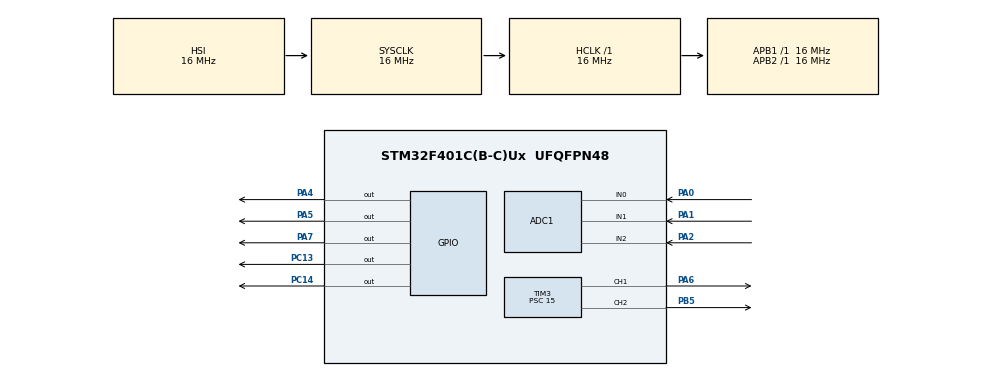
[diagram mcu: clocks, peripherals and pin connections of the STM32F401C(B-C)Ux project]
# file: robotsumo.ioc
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ADC1.Channel-2\#ChannelRegularConversion=ADC_CHANNEL_0
ADC1.ClockPrescaler=ADC_CLOCK_SYNC_PCLK_DIV4
ADC1.NbrOfConversionFlag=1
ADC1.Rank-2\#ChannelRegularConversion=1
ADC1.SamplingTime-2\#ChannelRegularConversion=ADC_SAMPLETIME_480CYCLES
ADC1.master=1
Mcu.Family=STM32F4
Mcu.Name=STM32F401C(B-C)Ux
Mcu.Package=UFQFPN48
NVIC.PriorityGroup=NVIC_PRIORITYGROUP_4
PA0-WKUP.Signal=ADCx_IN0
PA1.Signal=ADCx_IN1
PA2.Signal=ADCx_IN2
PA4.GPIO_PuPd=GPIO_PULLDOWN
PA4.Signal=GPIO_Output
PA5.GPIO_PuPd=GPIO_PULLDOWN
PA5.Signal=GPIO_Output
PA6.Signal=S_TIM3_CH1
PA7.Signal=GPIO_Output
PB5.Signal=S_TIM3_CH2
PC13-ANTI_TAMP.Signal=GPIO_Output
PC14-OSC32_IN.Signal=GPIO_Output
ProjectManager.HeapSize=0x200
ProjectManager.StackSize=0x400
ProjectManager.TargetToolchain=STM32CubeIDE
RCC.AHBFreq_Value=16000000
RCC.APB1Freq_Value=16000000
RCC.APB2Freq_Value=16000000
RCC.CortexFreq_Value=16000000
RCC.HSE_VALUE=25000000
RCC.HSI_VALUE=16000000
RCC.LSE_VALUE=32768
RCC.SYSCLKFreq_VALUE=16000000
RCC.VCOOutputFreq_Value=192000000
SH.ADCx_IN0.0=ADC1_IN0,IN0
SH.ADCx_IN1.0=ADC1_IN1,IN1
SH.ADCx_IN2.0=ADC1_IN2,IN2
SH.S_TIM3_CH1.0=TIM3_CH1,PWM Generation1 CH1
SH.S_TIM3_CH2.0=TIM3_CH2,PWM Generation2 CH2
TIM3.Channel-PWM\ Generation1\ CH1=TIM_CHANNEL_1
TIM3.Channel-PWM\ Generation2\ CH2=TIM_CHANNEL_2
TIM3.Period=999
TIM3.Prescaler=15
VP_TIM3_VS_ClockSourceINT.Mode=Internal
board=custom

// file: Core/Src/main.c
/* USER CODE BEGIN Header */
/**
  ******************************************************************************
  * @file           : main.c
  * @brief          : Main program body
  ******************************************************************************
  * @attention
  *
  * Copyright (c) 2025 STMicroelectronics.
  * All rights reserved.
  *
  * This software is licensed under terms that can be found in the LICENSE file
  * in the root directory of this software component.
  * If no LICENSE file comes with this software, it is provided AS-IS.
  *
  ******************************************************************************
  */
/* USER CODE END Header */
#include "main.h"

/* USER CODE BEGIN Includes */
#include <math.h>
#include <stdio.h>
#include <stdbool.h>
#include <stdlib.h>
/* USER CODE END Includes */

/* USER CODE BEGIN PTD */
typedef enum {
    LINE_NONE = 0,
    LINE_LEFT = 1,
    LINE_RIGHT = 2,
    LINE_BOTH = 3
} LineState;
/* USER CODE END PTD */

ADC_HandleTypeDef hadc1;

TIM_HandleTypeDef htim3;

/* USER CODE BEGIN PV */

volatile uint32_t debug_raw_adc = 0;
float distance = 0.0f;

/* USER CODE END PV */

void SystemClock_Config(void);
static void MX_GPIO_Init(void);
static void MX_ADC1_Init(void);
static void MX_TIM3_Init(void);
/* USER CODE BEGIN PFP */

float Sharp_Get_Distance(void);
LineState QTR_Read_Sensors(void);
uint32_t ADC_Read_Channel(uint32_t channel);
void Set_Motors(int speedL, int speedR);

/* USER CODE END PFP */

/* USER CODE BEGIN 0 */

#define QTR_THRESHOLD 1500
#define ATTACK_DISTANCE 40.0f
/* USER CODE END 0 */

int main(void)
{

  /* MCU Configuration--------------------------------------------------------*/

  /* Reset of all peripherals, Initializes the Flash interface and the Systick. */
  HAL_Init();

  /* Configure the system clock */
  SystemClock_Config();

  /* Initialize all configured peripherals */
  MX_GPIO_Init();
  MX_ADC1_Init();
  MX_TIM3_Init();
  /* USER CODE BEGIN 2 */
  HAL_TIM_PWM_Start(&htim3, TIM_CHANNEL_1);
  HAL_TIM_PWM_Start(&htim3, TIM_CHANNEL_2);

  HAL_GPIO_WritePin(GPIOA, GPIO_PIN_7, GPIO_PIN_SET);

  HAL_ADC_Start(&hadc1);

  /* USER CODE END 2 */

  /* Infinite loop */
  /* USER CODE BEGIN WHILE */
  while (1)
    {
	  //ODCZYT
	        distance = Sharp_Get_Distance();
	        LineState dohyo_edge = QTR_Read_Sensors();

	        //LOGIKA WALKI

	        // PRIORYTET 1: Biała linia
	        if (dohyo_edge != LINE_NONE)
	        {
	            if (dohyo_edge == LINE_BOTH) {
	                Set_Motors(-1000, -1000);
	                HAL_Delay(300);
	                Set_Motors(-800, 800);
	                HAL_Delay(400);
	            }
	            else if (dohyo_edge == LINE_LEFT) {
	                Set_Motors(-1000, -1000);
	                HAL_Delay(250);
	                Set_Motors(800, -800);
	                HAL_Delay(300);
	            }
	            else if (dohyo_edge == LINE_RIGHT) {
	                Set_Motors(-1000, -1000);
	                HAL_Delay(250);
	                Set_Motors(-800, 800);
	                HAL_Delay(300);
	            }
	        }
	        // PRIORYTET 2: ATAK LUB SZUKANIE
	        else
	        {
	            if (distance <= ATTACK_DISTANCE) {

	                Set_Motors(1000, 1000);
	            } else {

	                Set_Motors(500, -500);
	            }
	        }

	        HAL_Delay(5);
    /* USER CODE END WHILE */

    }
}

void SystemClock_Config(void)
{
  RCC_OscInitTypeDef RCC_OscInitStruct = {0};
  RCC_ClkInitTypeDef RCC_ClkInitStruct = {0};

  /** Configure the main internal regulator output voltage
  */
  __HAL_RCC_PWR_CLK_ENABLE();
  __HAL_PWR_VOLTAGESCALING_CONFIG(PWR_REGULATOR_VOLTAGE_SCALE2);

  /** Initializes the RCC Oscillators according to the specified parameters
  * in the RCC_OscInitTypeDef structure.
  */
  RCC_OscInitStruct.OscillatorType = RCC_OSCILLATORTYPE_HSI;
  RCC_OscInitStruct.HSIState = RCC_HSI_ON;
  RCC_OscInitStruct.HSICalibrationValue = RCC_HSICALIBRATION_DEFAULT;
  RCC_OscInitStruct.PLL.PLLState = RCC_PLL_NONE;
  if (HAL_RCC_OscConfig(&RCC_OscInitStruct) != HAL_OK)
  {
    Error_Handler();
  }

  /** Initializes the CPU, AHB and APB buses clocks
  */
  RCC_ClkInitStruct.ClockType = RCC_CLOCKTYPE_HCLK|RCC_CLOCKTYPE_SYSCLK
                              |RCC_CLOCKTYPE_PCLK1|RCC_CLOCKTYPE_PCLK2;
  RCC_ClkInitStruct.SYSCLKSource = RCC_SYSCLKSOURCE_HSI;
  RCC_ClkInitStruct.AHBCLKDivider = RCC_SYSCLK_DIV1;
  RCC_ClkInitStruct.APB1CLKDivider = RCC_HCLK_DIV1;
  RCC_ClkInitStruct.APB2CLKDivider = RCC_HCLK_DIV1;

  if (HAL_RCC_ClockConfig(&RCC_ClkInitStruct, FLASH_LATENCY_0) != HAL_OK)
  {
    Error_Handler();
  }
}

static void MX_ADC1_Init(void)
{

  ADC_ChannelConfTypeDef sConfig = {0};

  /** Configure the global features of the ADC (Clock, Resolution, Data Alignment and number of conversion)
  */
  hadc1.Instance = ADC1;
  hadc1.Init.ClockPrescaler = ADC_CLOCK_SYNC_PCLK_DIV4;
  hadc1.Init.Resolution = ADC_RESOLUTION_12B;
  hadc1.Init.ScanConvMode = DISABLE;
  hadc1.Init.ContinuousConvMode = DISABLE;
  hadc1.Init.DiscontinuousConvMode = DISABLE;
  hadc1.Init.ExternalTrigConvEdge = ADC_EXTERNALTRIGCONVEDGE_NONE;
  hadc1.Init.ExternalTrigConv = ADC_SOFTWARE_START;
  hadc1.Init.DataAlign = ADC_DATAALIGN_RIGHT;
  hadc1.Init.NbrOfConversion = 1;
  hadc1.Init.DMAContinuousRequests = DISABLE;
  hadc1.Init.EOCSelection = ADC_EOC_SINGLE_CONV;
  if (HAL_ADC_Init(&hadc1) != HAL_OK)
  {
    Error_Handler();
  }

  /** Configure for the selected ADC regular channel its corresponding rank in the sequencer and its sample time.
  */
  sConfig.Channel = ADC_CHANNEL_0;
  sConfig.Rank = 1;
  sConfig.SamplingTime = ADC_SAMPLETIME_480CYCLES;
  if (HAL_ADC_ConfigChannel(&hadc1, &sConfig) != HAL_OK)
  {
    Error_Handler();
  }

}

static void MX_TIM3_Init(void)
{

  TIM_ClockConfigTypeDef sClockSourceConfig = {0};
  TIM_MasterConfigTypeDef sMasterConfig = {0};
  TIM_OC_InitTypeDef sConfigOC = {0};

  htim3.Instance = TIM3;
  htim3.Init.Prescaler = 15;
  htim3.Init.CounterMode = TIM_COUNTERMODE_UP;
  htim3.Init.Period = 999;
  htim3.Init.ClockDivision = TIM_CLOCKDIVISION_DIV1;
  htim3.Init.AutoReloadPreload = TIM_AUTORELOAD_PRELOAD_DISABLE;
  if (HAL_TIM_Base_Init(&htim3) != HAL_OK)
  {
    Error_Handler();
  }
  sClockSourceConfig.ClockSource = TIM_CLOCKSOURCE_INTERNAL;
  if (HAL_TIM_ConfigClockSource(&htim3, &sClockSourceConfig) != HAL_OK)
  {
    Error_Handler();
  }
  if (HAL_TIM_PWM_Init(&htim3) != HAL_OK)
  {
    Error_Handler();
  }
  sMasterConfig.MasterOutputTrigger = TIM_TRGO_RESET;
  sMasterConfig.MasterSlaveMode = TIM_MASTERSLAVEMODE_DISABLE;
  if (HAL_TIMEx_MasterConfigSynchronization(&htim3, &sMasterConfig) != HAL_OK)
  {
    Error_Handler();
  }
  sConfigOC.OCMode = TIM_OCMODE_PWM1;
  sConfigOC.Pulse = 0;
  sConfigOC.OCPolarity = TIM_OCPOLARITY_HIGH;
  sConfigOC.OCFastMode = TIM_OCFAST_DISABLE;
  if (HAL_TIM_PWM_ConfigChannel(&htim3, &sConfigOC, TIM_CHANNEL_1) != HAL_OK)
  {
    Error_Handler();
  }
  if (HAL_TIM_PWM_ConfigChannel(&htim3, &sConfigOC, TIM_CHANNEL_2) != HAL_OK)
  {
    Error_Handler();
  }
  HAL_TIM_MspPostInit(&htim3);

}

static void MX_GPIO_Init(void)
{
  GPIO_InitTypeDef GPIO_InitStruct = {0};

  /* GPIO Ports Clock Enable */
  __HAL_RCC_GPIOC_CLK_ENABLE();
  __HAL_RCC_GPIOA_CLK_ENABLE();
  __HAL_RCC_GPIOB_CLK_ENABLE();

  /*Configure GPIO pin Output Level */
  HAL_GPIO_WritePin(GPIOC, GPIO_PIN_13|GPIO_PIN_14, GPIO_PIN_RESET);

  /*Configure GPIO pin Output Level */
  HAL_GPIO_WritePin(GPIOA, GPIO_PIN_4|GPIO_PIN_5|GPIO_PIN_7, GPIO_PIN_RESET);

  /*Configure GPIO pins : PC13 PC14 */
  GPIO_InitStruct.Pin = GPIO_PIN_13|GPIO_PIN_14;
  GPIO_InitStruct.Mode = GPIO_MODE_OUTPUT_PP;
  GPIO_InitStruct.Pull = GPIO_NOPULL;
  GPIO_InitStruct.Speed = GPIO_SPEED_FREQ_LOW;
  HAL_GPIO_Init(GPIOC, &GPIO_InitStruct);

  /*Configure GPIO pins : PA4 PA5 */
  GPIO_InitStruct.Pin = GPIO_PIN_4|GPIO_PIN_5;
  GPIO_InitStruct.Mode = GPIO_MODE_OUTPUT_PP;
  GPIO_InitStruct.Pull = GPIO_PULLDOWN;
  GPIO_InitStruct.Speed = GPIO_SPEED_FREQ_LOW;
  HAL_GPIO_Init(GPIOA, &GPIO_InitStruct);

  /*Configure GPIO pin : PA7 */
  GPIO_InitStruct.Pin = GPIO_PIN_7;
  GPIO_InitStruct.Mode = GPIO_MODE_OUTPUT_PP;
  GPIO_InitStruct.Pull = GPIO_NOPULL;
  GPIO_InitStruct.Speed = GPIO_SPEED_FREQ_LOW;
  HAL_GPIO_Init(GPIOA, &GPIO_InitStruct);

}

/* USER CODE BEGIN 4 */
// --- 1. ODŚWIEŻONY SHARP ---
float Sharp_Get_Distance(void) {
    uint32_t sum = 0;
    uint8_t samples = 20;

    for (int i = 0; i < samples; i++) {
        // Teraz czytamy ze wskazaniem na kanał 0 (PA0)
        sum += ADC_Read_Channel(ADC_CHANNEL_0);
    }

    uint32_t raw = sum / samples;
    debug_raw_adc = raw; // Diagnostyka

    if (raw > 3600) return 8.0f;
    if (raw < 960) return 80.0f;

    float dist = 27500.0f / (float)(raw - 600);

    if (dist > 80.0f) return 80.0f;
    if (dist < 8.0f) return 8.0f;

    return dist;
}

// --- 2. NOWA FUNKCJA CZUJNIKÓW LINII ---
LineState QTR_Read_Sensors(void) {
    // Odczyt lewego (PA1) i prawego (PA2) czujnika
    uint32_t left_val = ADC_Read_Channel(ADC_CHANNEL_1);
    uint32_t right_val = ADC_Read_Channel(ADC_CHANNEL_2);

    // Logika: Jeśli napięcie spadnie poniżej progu, widzimy biel
    bool left_sees_white = (left_val < QTR_THRESHOLD);
    bool right_sees_white = (right_val < QTR_THRESHOLD);

    if (left_sees_white && right_sees_white) return LINE_BOTH;
    if (left_sees_white) return LINE_LEFT;
    if (right_sees_white) return LINE_RIGHT;

    return LINE_NONE; // Widzi czarne (bezpiecznie)
}

uint32_t ADC_Read_Channel(uint32_t channel) {
    ADC_ChannelConfTypeDef sConfig = {0};
    sConfig.Channel = channel;
    sConfig.Rank = 1;
    sConfig.SamplingTime = ADC_SAMPLETIME_84CYCLES; // Wystarczająco szybki

    // Przełącz kanał ADC
    HAL_ADC_ConfigChannel(&hadc1, &sConfig);

    // Wykonaj pomiar
    HAL_ADC_Start(&hadc1);
    HAL_ADC_PollForConversion(&hadc1, 5);
    uint32_t val = HAL_ADC_GetValue(&hadc1);
    HAL_ADC_Stop(&hadc1);

    return val;
}

// speedL i speedR mogą być od -1000 (maks do tyłu) do 1000 (maks do przodu)
void Set_Motors(int speedL, int speedR) {
    // --- SILNIK A (LEWY) - PA6 (PWM), PA4/PA5 (Kierunek) ---
    int pwm_L = abs(speedL);
    if (pwm_L > 1000) pwm_L = 1000;
    if (pwm_L < 50 && pwm_L != 0) pwm_L = 0; // Martwa strefa

    if (speedL >= 0) { // Przód
        HAL_GPIO_WritePin(GPIOA, GPIO_PIN_4, GPIO_PIN_SET);   // AIN1
        HAL_GPIO_WritePin(GPIOA, GPIO_PIN_5, GPIO_PIN_RESET); // AIN2
    } else {           // Tył
        HAL_GPIO_WritePin(GPIOA, GPIO_PIN_4, GPIO_PIN_RESET);
        HAL_GPIO_WritePin(GPIOA, GPIO_PIN_5, GPIO_PIN_SET);
    }
    __HAL_TIM_SET_COMPARE(&htim3, TIM_CHANNEL_1, pwm_L);

    // --- SILNIK B (PRAWY) - PB5 (PWM), PC13/PC14 (Kierunek) ---
    int pwm_R = abs(speedR);
    if (pwm_R > 1000) pwm_R = 1000;
    if (pwm_R < 50 && pwm_R != 0) pwm_R = 0; // Martwa strefa

    if (speedR >= 0) { // Przód
        HAL_GPIO_WritePin(GPIOC, GPIO_PIN_13, GPIO_PIN_SET);   // BIN1
        HAL_GPIO_WritePin(GPIOC, GPIO_PIN_14, GPIO_PIN_RESET); // BIN2
    } else {           // Tył
        HAL_GPIO_WritePin(GPIOC, GPIO_PIN_13, GPIO_PIN_RESET);
        HAL_GPIO_WritePin(GPIOC, GPIO_PIN_14, GPIO_PIN_SET);
    }
    __HAL_TIM_SET_COMPARE(&htim3, TIM_CHANNEL_2, pwm_R);
}

/* USER CODE END 4 */

void Error_Handler(void)
{
  __disable_irq();
  while (1)
  {
  }
}
